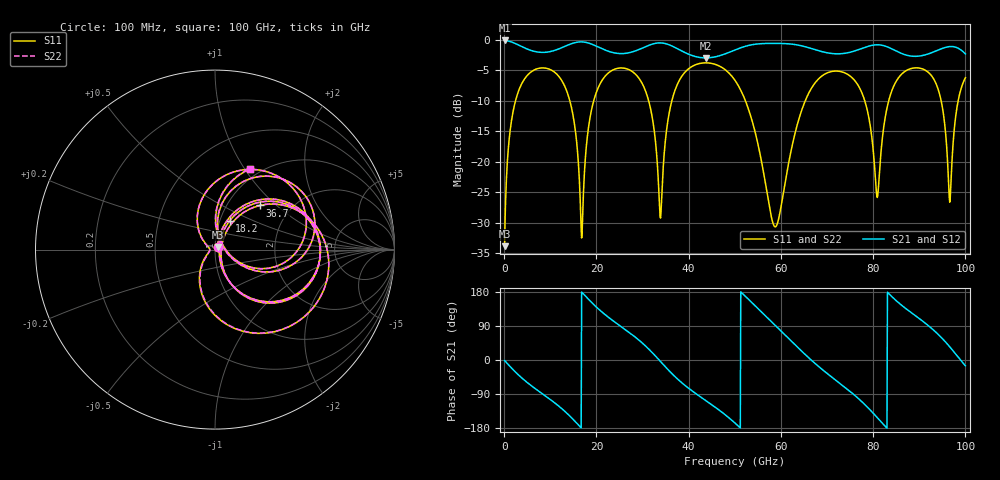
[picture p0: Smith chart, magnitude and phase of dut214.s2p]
! Touchstone file exported from HFSS 2026.1.0
!  File:  C:/ffzhzh/LocalFiles/Ansys_Project_Files/temp_train_TSV_RDL_214_1783661167_33328.aedt
!  Generated:  01:37:25 PM Jul 10, 2026
!  Design:  TSV_RDL
!  Project:  temp_train_TSV_RDL_214_1783661167_33328
! Variables:
!  h_bsmrdl = 4.25um
!  h_ox = 20um
!  h_rdl = 5um
!  h_sub = 86.53um
!  h_tmrdl = 4.94um
!  h_tsv = 86.53um
!  h_via = 3um
!  l_bsmrdl = 586.41um
!  l_sub = 3582.71um
!  l_tmrdl = 322.45um
!  m_sub = 200um
!  pitch = 58.11um
!  r_tsv = 6.71um
!  s_tmrdl = 10um
!  w_bsmrdl = 18.56um
!  w_sub = 500um
!  w_tmrdl = 26um
!  x_tsv_center1 = 335.45um
!  x_tsv_center2 = 940.42um
!  x_tsv_center3 = 1288.87um
!  x_tsv_center4 = 1893.84um
!  x_tsv_center5 = 2242.29um
!  x_tsv_center6 = 2847.26um
# GHz S MA R 50.000000
! Terminal data exported
! Port[1] = TM_RDL1_1_T1
! Port[2] = TM_RDL5_1_T1
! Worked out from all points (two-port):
!   1000 points, 100 MHz to 100 GHz, reference 50 ohm
!   highest |S21| = -0.12 dB at 100 MHz (marker M1); lowest = -3.0 dB at 43.7 GHz (marker M2)
!   |S21| within 3 dB of the highest: start of sweep to end of sweep
!   lowest |S11| = -33.8 dB at 100 MHz (marker M3), VSWR 1.04, Z = 51.4 + j1.51 ohm
!   |S11| at or under -10 dB: 14.23 GHz to 19.42 GHz (5.187 GHz wide, 30.8 % of centre); 52.3 GHz to 65.28 GHz (12.98 GHz wide, 22.1 % of centre); 78.18 GHz to 83.38 GHz (5.198 GHz wide, 6.44 % of centre) (the widest 3 of 6)
!   |S22| runs from -33.8 to -3.8 dB; largest |S21 - S12| = 6.2e-13
!   S11 on the Smith chart (normalised r, x): 100 MHz: 1.03, +0.03; 18.2 GHz: 1.11, +0.37; 36.7 GHz: 1.41, +0.79; 100 GHz: 0.90, +1.06
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0.1  0.02033 46.2  0.9862 -1.4  0.9862 -1.4  0.02033 46.2
! Gamma 0 0 0 0
! Port Impedance 50 0 50 0
2.2  0.2878 57.4  0.9387 -28.8  0.9387 -28.8  0.2878 57.4
7.6  0.5841 5.3  0.7898 -83.1  0.7898 -83.1  0.5841 5.3
14  0.3395 -53.2  0.9098 -145.1  0.9098 -145.1  0.3395 -53.2
16.8  0.02373 -6.1  0.9602 179.5  0.9602 179.5  0.02355 -6.1
18.2  0.1805 63.0  0.9413 161.3  0.9413 161.3  0.1805 63.1
21.6  0.4865 30.0  0.8315 122.6  0.8315 122.6  0.4865 30.1
27.8  0.5478 -23.3  0.7948 66.4  0.7948 66.4  0.5478 -23.2
31.5  0.2984 -58.3  0.9038 27.1  0.9038 27.1  0.2983 -58.2
33.4  0.07309 -60.5  0.941 2.7  0.941 2.7  0.07305 -60.4
36.7  0.3519 44.4  0.8768 -39.9  0.8768 -39.9  0.3518 44.5
43.7  0.6465 -17.6  0.7096 -106.9  0.7096 -106.9  0.6465 -17.3
50.1  0.4613 -74.5  0.8258 -166.9  0.8258 -166.9  0.4614 -74.1
54  0.2008 -115.5  0.9134 147.8  0.9134 147.8  0.2012 -114.5
58.8  0.02929 -179.8  0.933 90.7  0.933 90.7  0.02927 -175.0
66.7  0.4046 84.6  0.8449 -1.5  0.8449 -1.5  0.4046 84.6
76.7  0.4255 -6.0  0.8259 -100.5  0.8259 -100.5  0.4255 -6.2
80.9  0.05099 30.1  0.9089 -152.1  0.9089 -152.1  0.04933 30.1
83.4  0.3186 76.7  0.8639 175.1  0.8639 175.1  0.3183 77.0
93.5  0.448 -9.9  0.8055 74.5  0.8055 74.5  0.448 -9.9
96.6  0.04662 25.8  0.8787 34.9  0.8787 34.9  0.04537 25.7
100  0.4886 66.5  0.7646 -15.2  0.7646 -15.2  0.4882 66.8
